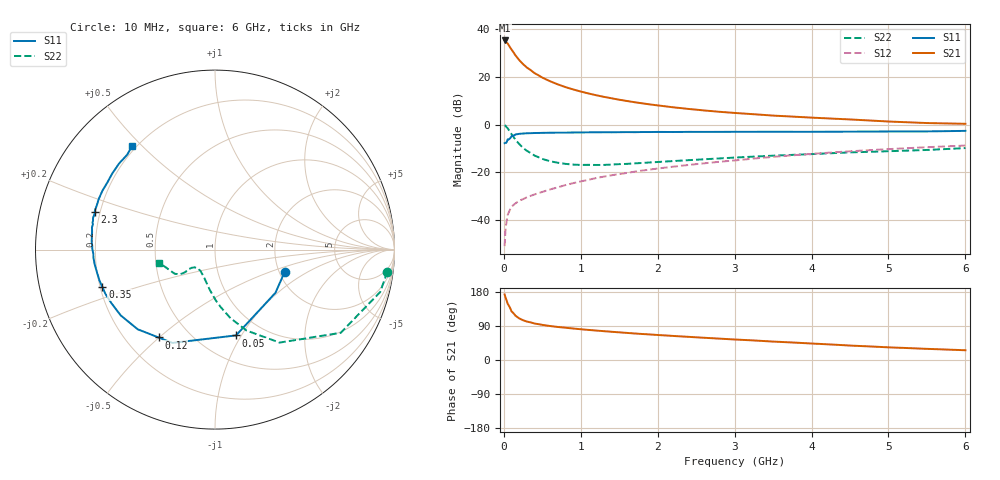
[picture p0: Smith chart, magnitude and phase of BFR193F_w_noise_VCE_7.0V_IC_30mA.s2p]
! (c) 2017  Infineon Technologies AG, Munich
! Infineon Technologies  Discrete & RF Semiconductors
! BFR193F
! VCE =  7.0 V,  IC =  30 mA
! Common Emitter S-Parameters:  Jan 2017
# GHz  S  MA  R  50
!  f  S11  S21  S12  S22
! GHz  MAG  ANG  MAG  ANG  MAG  ANG  MAG  ANG
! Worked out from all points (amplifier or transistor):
!   77 points, 10 MHz to 6 GHz, reference 50 ohm
!   highest |S21| = 35.4 dB at 10 MHz (marker M1)
!   |S21| within 3 dB of that: start of sweep to 83.13 MHz
!   unconditionally stable (mu >= 1): 1.165 GHz to 2.665 GHz
!   at 130 MHz: K = 0.36, MSG = 31.9 dB, |S12| = -33.6 dB
!   at 2.2 GHz: K = 1.02, MAG = 11.6 dB, |S12| = -17.7 dB
!   at 6 GHz: K = 0.85, MSG = 4.6 dB, |S12| = -8.8 dB
!   lowest NFmin = 1.18 dB at 450 MHz
!   S11 on the Smith chart (normalised r, x): 10 MHz: 2.15, -0.63; 50 MHz: 0.75, -0.95; 120 MHz: 0.34, -0.50; 350 MHz: 0.21, -0.16; 2.3 GHz: 0.18, +0.15; 6 GHz: 0.18, +0.47
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0.01  0.4078 -17.5  58.56 173.0  0.0028 88.6  0.9679 -7.3
0.02  0.4139 -35.5  56.82 165.9  0.0057 74.8  0.9503 -14.4
0.05  0.4922 -76.2  50.49 148.4  0.0126 65.1  0.84 -33.5
0.1  0.5714 -114.5  37.78 128.3  0.019 53.2  0.6303 -55.3
0.12  0.5819 -122.7  33.97 124.5  0.0202 51.3  0.5683 -59.8
0.15  0.6185 -134.1  28.63 117.0  0.0221 48.8  0.4841 -68.7
0.2  0.6406 -145.1  22.67 109.8  0.0254 49.5  0.3915 -77.3
0.25  0.6502 -152.9  18.61 104.9  0.0272 49.8  0.324 -84.1
0.3  0.6585 -158.0  15.79 101.4  0.0298 51.3  0.2814 -89.3
0.35  0.6612 -161.6  13.9 99.2  0.032 52.8  0.2518 -93.1
0.4  0.6664 -165.1  12.03 96.2  0.0342 54.2  0.2236 -97.8
0.5  0.6707 -169.8  9.719 92.7  0.0386 57.5  0.1908 -104.3
0.6  0.6755 -173.1  8.157 89.7  0.0435 60.6  0.1701 -110.3
0.8  0.6783 -178.1  6.146 85.2  0.0537 64.3  0.1499 -119.8
1.1  0.6885 176.4  4.51 79.4  0.0695 67.8  0.143 -129.1
1.5  0.6936 171.0  3.337 73.0  0.0914 70.4  0.1479 -137.1
2.1  0.701 164.5  2.421 64.8  0.1251 71.5  0.1678 -142.3
2.3  0.7017 162.7  2.223 62.3  0.1363 71.5  0.1753 -142.9
3.1  0.7064 155.9  1.716 53.1  0.1836 70.8  0.207 -143.0
4.1  0.7076 147.0  1.378 42.5  0.2492 67.5  0.2443 -145.9
5.1  0.718 137.0  1.145 32.6  0.3114 62.5  0.2797 -156.4
6  0.7393 128.6  1.041 25.7  0.3631 57.3  0.3217 -167.0
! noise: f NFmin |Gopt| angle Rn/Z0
0.45  1.18  0.39  176  0.06
0.9  1.27  0.42  176  0.07
1.9  1.84  0.57  -168  0.07
2.4  2.13  0.61  -159  0.11
